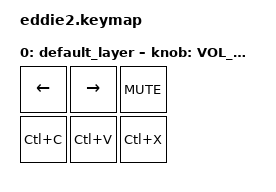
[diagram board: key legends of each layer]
// This file was generated from a template. Edit it to match your keyboard.
// See https://zmk.dev/docs/development/hardware-integration/new-shield for more instructions.

#include <behaviors.dtsi>
#include <dt-bindings/zmk/keys.h>

/ {
    // Define a default keymap here.
    // See https://zmk.dev/docs/development/hardware-integration/new-shield#default-keymap.
    keymap {
        compatible = "zmk,keymap";

        default_layer {
            bindings = <
                &kp LEFT    &kp RIGHT   &kp C_MUTE
                &kp LC(C)   &kp LC(V)  &kp LC(X)
            >;
            sensor-bindings = <&inc_dec_kp C_VOL_DN C_VOL_UP>;
        };
    };
};
